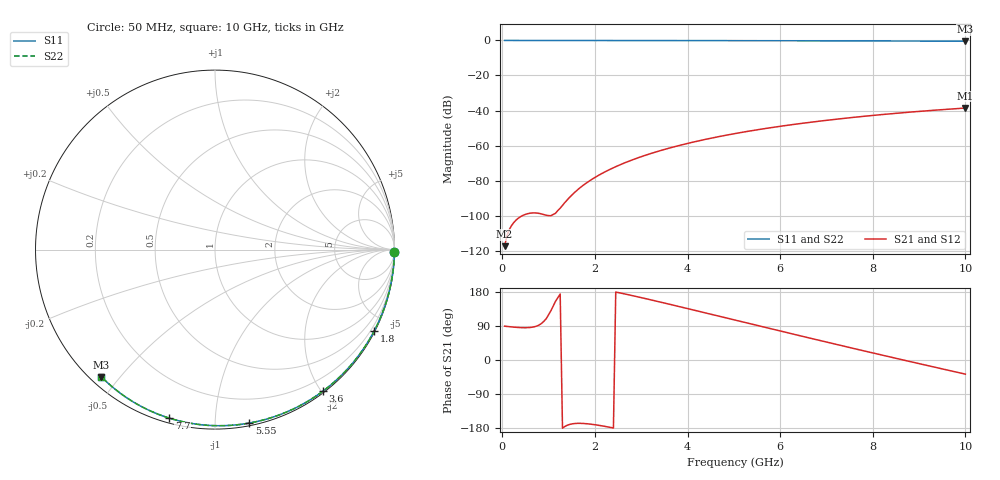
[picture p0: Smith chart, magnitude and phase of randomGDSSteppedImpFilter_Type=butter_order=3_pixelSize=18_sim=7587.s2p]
! freq	dB(S11)	phase(S11)	dB(S12)	phase(S12)
!  dB(S21)	phase(S21)	dB(S22)	phase(S22)
!S-par simulation data
#  GHz  S  DB  R 50
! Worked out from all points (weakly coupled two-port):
!   200 points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, 50 MHz to 10 GHz, reference 50 ohm
!   highest |S21| = -38.58 dB at 10 GHz (marker M1); lowest = -117.4 dB at 50 MHz (marker M2)
!   lowest |S11| = -0.4 dB at 10 GHz (marker M3), VSWR 39.32, Z = 1.53 - j22.4 ohm
!   |S11| at or under -10 dB: nowhere
!   |S22| runs from -0.4 to 0.0 dB; largest |S21 - S12| = 0
!   S11 on the Smith chart (normalised r, x): 50 MHz: open; 1.8 GHz: 0.04, -4.17; 3.6 GHz: 0.02, -2.02; 5.55 GHz: 0.02, -1.22; 7.7 GHz: 0.02, -0.76; 10 GHz: 0.03, -0.45
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0.05  -0.00 -0.8  -117.43 89.3  -117.43 89.3  -0.00 -0.8
0.45  -0.01 -6.8  -99.81 85.2  -99.81 85.2  -0.01 -6.8
0.9  -0.02 -13.6  -99.43 102.4  -99.43 102.4  -0.02 -13.6
1.75  -0.03 -26.2  -82.62 -167.5  -82.62 -167.5  -0.03 -26.3
1.8  -0.03 -27.0  -81.65 -167.9  -81.65 -167.9  -0.03 -27.0
1.9  -0.04 -28.4  -79.86 -169.1  -79.86 -169.1  -0.04 -28.5
2.05  -0.04 -30.6  -77.42 -171.7  -77.42 -171.7  -0.04 -30.7
2.25  -0.04 -33.6  -74.56 -175.9  -74.56 -175.9  -0.04 -33.6
2.45  -0.05 -36.4  -72.04 179.3  -72.04 179.3  -0.05 -36.5
2.65  -0.05 -39.3  -69.79 174.1  -69.79 174.1  -0.05 -39.4
3  -0.06 -44.3  -66.34 164.6  -66.34 164.6  -0.06 -44.4
3.4  -0.07 -50.0  -62.98 153.2  -62.98 153.2  -0.07 -50.0
3.6  -0.07 -52.7  -61.48 147.5  -61.48 147.5  -0.07 -52.8
4.3  -0.09 -62.3  -56.96 126.9  -56.96 126.9  -0.09 -62.4
5.05  -0.11 -72.3  -53.03 104.7  -53.03 104.7  -0.11 -72.4
5.55  -0.13 -78.8  -50.80 89.8  -50.80 89.8  -0.13 -78.8
6.1  -0.15 -85.8  -48.63 73.6  -48.63 73.6  -0.15 -85.8
6.7  -0.18 -93.2  -46.54 56.1  -46.54 56.1  -0.18 -93.3
7.7  -0.24 -105.2  -43.58 27.2  -43.58 27.2  -0.24 -105.3
8.35  -0.29 -112.8  -41.94 8.7  -41.94 8.7  -0.29 -112.9
9.15  -0.36 -122.1  -40.18 -13.8  -40.18 -13.8  -0.36 -122.1
10  -0.44 -131.7  -38.58 -37.3  -38.58 -37.3  -0.45 -131.8
